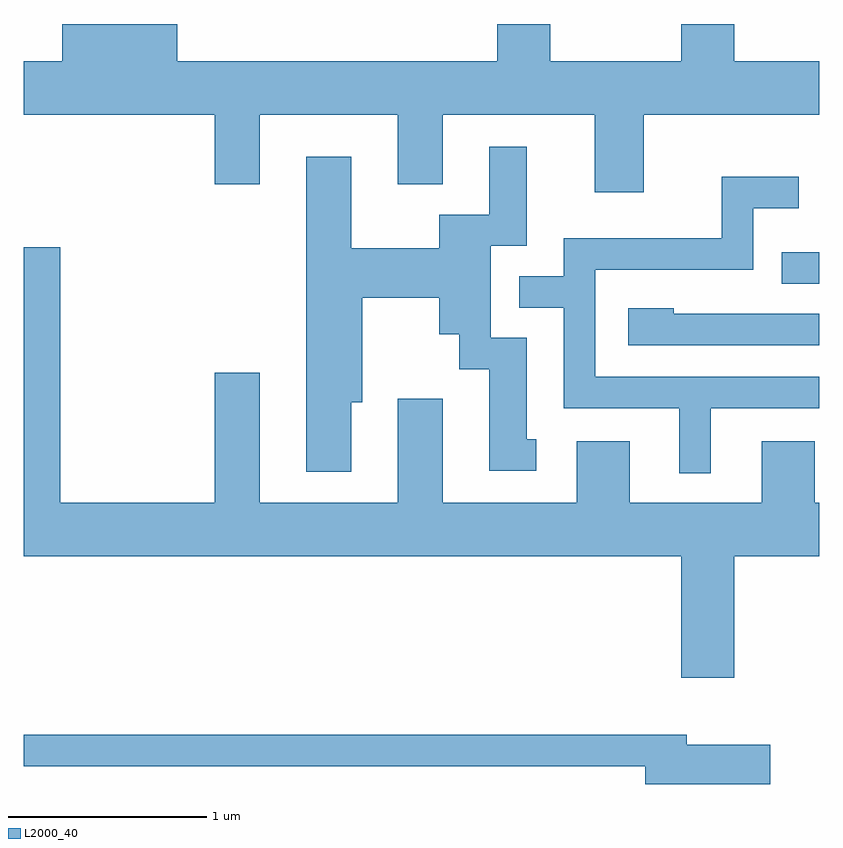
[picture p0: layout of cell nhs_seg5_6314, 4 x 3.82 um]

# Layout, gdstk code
import gdstk
lib = gdstk.Library(unit=1e-6, precision=1e-09)
def R(c, l, rs):  # rectangles x0, y0, x1, y1
    for r in rs: c.add(gdstk.rectangle(r[:2], r[2:], *l))
def P(c, l, *ps):  # polygons
    for p in ps: c.add(gdstk.Polygon(p, *l))
L2000_40 = (2000, 40)

nhs_seg5_6314 = lib.new_cell('nhs_seg5_6314')
R(nhs_seg5_6314, L2000_40, [(375.423,1524.766,375.611,1524.924)])
P(nhs_seg5_6314, L2000_40, [(374.481,1525.226),(374.729,1525.226),(374.729,1525.616),(375.611,1525.616),(375.611,1525.884),(375.184,1525.884),(375.184,1526.072),(374.916,1526.072),(374.916,1525.884),(374.259,1525.884),(374.259,1526.072),(373.991,1526.072),(373.991,1525.884),(372.384,1525.884),(372.384,1526.072),(371.806,1526.072),(371.806,1525.884),(371.611,1525.884),(371.611,1525.616),(372.571,1525.616),(372.571,1525.266),(372.799,1525.266),(372.799,1525.616),(373.491,1525.616),(373.491,1525.266),(373.719,1525.266),(373.719,1525.616),(374.481,1525.616)],
  [(373.259,1524.171),(373.314,1524.171),(373.314,1524.696),(373.701,1524.696),(373.701,1524.511),(373.801,1524.511),(373.801,1524.336),(373.951,1524.336),(373.951,1523.826),(374.188,1523.826),(374.188,1523.984),(374.139,1523.984),(374.139,1524.494),(373.959,1524.494),(373.959,1524.956),(374.139,1524.956),(374.139,1525.454),(373.951,1525.454),(373.951,1525.114),(373.701,1525.114),(373.701,1524.944),(373.259,1524.944),(373.259,1525.404),(373.031,1525.404),(373.031,1523.821),(373.259,1523.821)],
  [(375.064,1524.141),(375.611,1524.141),(375.611,1524.299),(374.484,1524.299),(374.484,1524.836),(375.279,1524.836),(375.279,1525.146),(375.508,1525.146),(375.508,1525.304),(375.121,1525.304),(375.121,1524.994),(374.326,1524.994),(374.326,1524.804),(374.103,1524.804),(374.103,1524.646),(374.326,1524.646),(374.326,1524.141),(374.906,1524.141),(374.906,1523.813),(375.064,1523.813)],
  [(375.184,1523.396),(375.611,1523.396),(375.611,1523.664),(375.589,1523.664),(375.589,1523.974),(375.321,1523.974),(375.321,1523.664),(374.659,1523.664),(374.659,1523.974),(374.391,1523.974),(374.391,1523.664),(373.719,1523.664),(373.719,1524.189),(373.491,1524.189),(373.491,1523.664),(372.799,1523.664),(372.799,1524.319),(372.571,1524.319),(372.571,1523.664),(371.794,1523.664),(371.794,1524.949),(371.611,1524.949),(371.611,1523.396),(374.916,1523.396),(374.916,1522.786),(375.184,1522.786)],
  [(375.611,1524.614),(374.879,1524.614),(374.879,1524.644),(374.651,1524.644),(374.651,1524.456),(375.611,1524.456)],
  [(375.364,1522.449),(374.944,1522.449),(374.944,1522.499),(371.611,1522.499),(371.611,1522.341),(374.736,1522.341),(374.736,1522.251),(375.364,1522.251)])

lib.write_gds('nhs_seg5_6314.gds')
